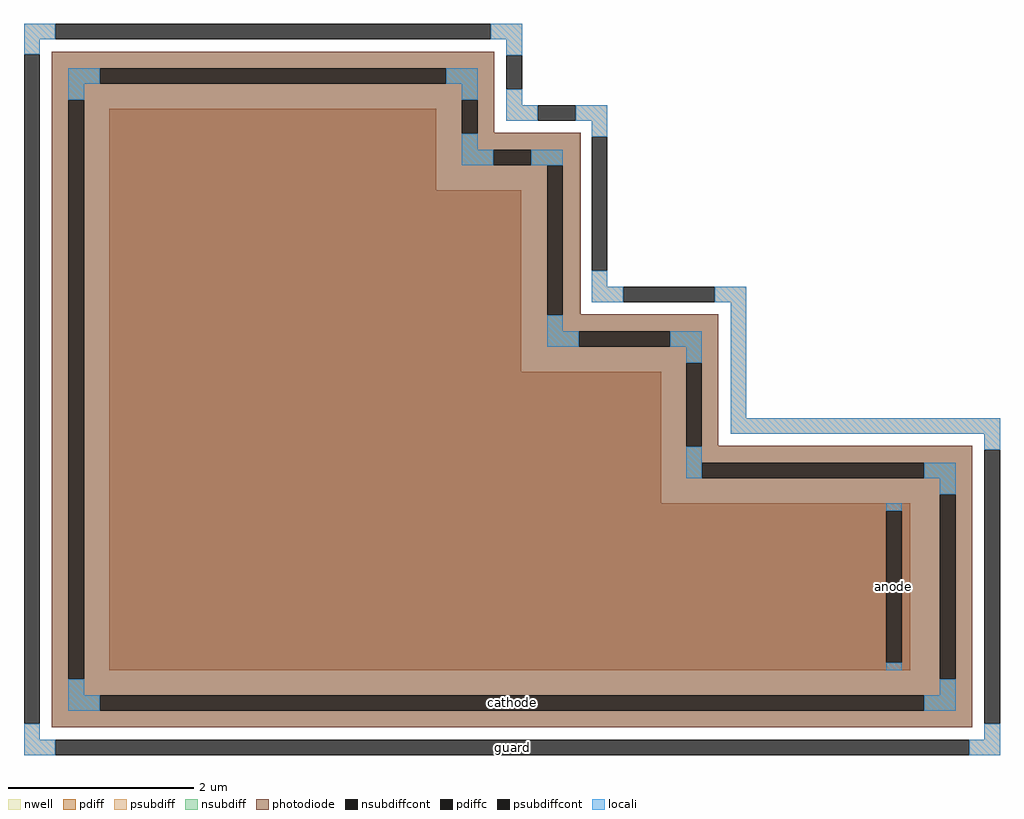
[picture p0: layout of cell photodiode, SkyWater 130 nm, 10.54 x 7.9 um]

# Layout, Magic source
magic
tech sky130A
<< photodiode >>
rect 30 672 508 760
rect 30 476 601 672
rect 30 334 750 476
rect 30 30 1024 334
<< nwell >>
rect 30 672 508 760
rect 30 476 600 672
rect 30 334 750 476
rect 30 30 1024 334
<< pdiff >>
rect 92 610 445 698
rect 92 414 537 610
rect 92 272 688 414
rect 92 264 957 272
rect 92 100 931 264
rect 948 100 957 264
rect 92 92 957 100
<< pdiffc >>
rect 931 100 948 264
<< psubdiff >>
rect 0 773 34 790
rect 504 773 538 790
rect 0 757 17 773
rect 521 756 538 773
rect 521 702 538 719
rect 521 685 555 702
rect 596 685 630 702
rect 613 668 630 685
rect 613 506 630 523
rect 613 489 647 506
rect 746 489 780 506
rect 763 364 780 489
rect 763 347 1054 364
rect 1037 330 1054 347
rect 0 17 17 34
rect 1037 17 1054 34
rect 0 0 34 17
rect 1021 0 1054 17
<< nsubdiff >>
rect 48 725 82 742
rect 456 725 490 742
rect 48 708 65 725
rect 473 708 490 725
rect 473 654 490 671
rect 473 637 507 654
rect 548 637 582 654
rect 565 458 582 475
rect 565 441 599 458
rect 698 441 732 458
rect 715 424 732 441
rect 715 299 732 333
rect 972 299 1006 316
rect 989 282 1006 299
rect 48 65 65 82
rect 989 65 1006 82
rect 48 48 82 65
rect 972 48 1006 65
<< psubdiffcont >>
rect 34 773 504 790
rect 0 34 17 757
rect 521 719 538 756
rect 555 685 596 702
rect 613 523 630 668
rect 647 489 746 506
rect 1037 34 1054 330
rect 34 0 1021 17
<< nsubdiffcont >>
rect 82 725 456 742
rect 48 82 65 708
rect 473 671 490 708
rect 507 637 548 654
rect 565 475 582 637
rect 599 441 698 458
rect 715 333 732 424
rect 732 299 972 316
rect 989 82 1006 282
rect 82 48 972 65
<< locali >>
rect 0 773 34 790
rect 504 773 538 790
rect 0 757 17 773
rect 521 756 538 773
rect 48 725 82 742
rect 456 725 490 742
rect 48 708 65 725
rect 473 708 490 725
rect 521 702 538 719
rect 521 685 555 702
rect 596 685 630 702
rect 473 654 490 671
rect 613 668 630 685
rect 473 637 507 654
rect 548 637 582 654
rect 613 506 630 523
rect 613 489 647 506
rect 746 489 780 506
rect 565 458 582 475
rect 565 441 599 458
rect 698 441 732 458
rect 715 424 732 441
rect 763 364 780 489
rect 763 347 1054 364
rect 715 299 732 333
rect 1037 330 1054 347
rect 972 299 1006 316
rect 989 282 1006 299
rect 931 264 948 272
rect 931 92 948 100
rect 48 65 65 82
rect 989 65 1006 82
rect 48 48 82 65
rect 972 48 1006 65
rect 0 17 17 34
rect 1037 17 1054 34
rect 0 0 34 17
rect 1021 0 1054 17
<< labels >>
flabel locali s 931 100 948 264 0 FreeSans 320 90 0 0 anode
port 2 nsew
flabel locali s 82 48 972 65 0 FreeSans 320 0 0 0 cathode
port 1 nsew
flabel locali s 34 0 1021 17 0 FreeSans 320 0 0 0 guard
port 0 nsew
<< end >>
